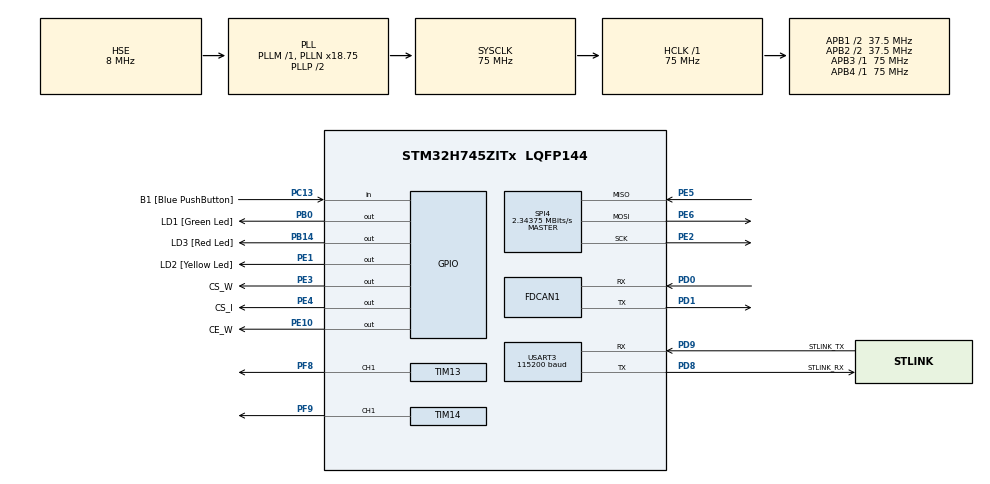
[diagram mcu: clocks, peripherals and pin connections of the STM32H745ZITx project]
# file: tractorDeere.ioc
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CortexM4.IPs=FATFS_M4\:I,FREERTOS_M4\:I,IWDG2\:I,RCC,WWDG2\:I,DMA,BDMA,MDMA,NVIC2\:I,USART3,DEBUG,PDM2PCM_M4\:I,PWR,RESMGR_UTILITY,SYS_M4\:I,USB_DEVICE_M4\:I,USB_HOST_M4\:I,CORTEX_M4\:I,GPIO,OPENAMP_M4\:I,VREFBUF,FDCAN1,TIM6\:I,SPI4
CortexM4.Pins=PE1
CortexM7.IPs=FATFS_M7\:I,FREERTOS_M7\:I,IWDG1\:I,RCC\:I,WWDG1\:I,DMA\:I,BDMA\:I,MDMA\:I,NVIC1\:I,SYS\:I,USART3\:I,CORTEX_M7\:I,DEBUG\:I,PDM2PCM_M7\:I,PWR\:I,RESMGR_UTILITY\:I,USB_DEVICE_M7\:I,USB_HOST_M7\:I,GPIO\:I,OPENAMP_M7\:I,VREFBUF\:I,FDCAN1\:I,TIM7\:I,SPI4\:I,TIM14\:I,TIM13\:I
CortexM7.Pins=PE3,PE4,PC13,PB0,PE10,PB14
FDCAN1.CalculateBaudRateNominal=625000
FDCAN1.CalculateTimeBitNominal=1600
FDCAN1.CalculateTimeQuantumNominal=320.0
FREERTOS_M4.Tasks01=defaultTask,24,128,StartDefaultTask,Default,NULL,Dynamic,NULL,NULL
FREERTOS_M4.configUSE_NEWLIB_REENTRANT=1
FREERTOS_M7.Tasks01=defaultTask,24,128,StartDefaultTask,Default,NULL,Dynamic,NULL,NULL
FREERTOS_M7.configUSE_NEWLIB_REENTRANT=1
Mcu.Family=STM32H7
Mcu.Name=STM32H745ZITx
Mcu.Package=LQFP144
NVIC1.PriorityGroup=NVIC_PRIORITYGROUP_4
NVIC1.TIM7_IRQn=true\:15\:0\:false\:false\:true\:false\:false\:true\:true
NVIC1.TimeBase=TIM7_IRQn
NVIC1.TimeBaseIP=TIM7
NVIC2.PriorityGroup=NVIC_PRIORITYGROUP_4
NVIC2.TIM6_DAC_IRQn=true\:15\:0\:false\:false\:true\:false\:false\:true\:true
NVIC2.TimeBase=TIM6_DAC_IRQn
NVIC2.TimeBaseIP=TIM6
PA15\ (JTDI).PinAttribute=CortexM7
PA15\ (JTDI).Signal=S_TIM2_CH1_ETR
PB0.GPIO_Label=LD1 [Green Led]
PB0.PinAttribute=CortexM7
PB0.Signal=GPIO_Output
PB14.GPIO_Label=LD3 [Red Led]
PB14.PinAttribute=CortexM7
PB14.Signal=GPIO_Output
PC13.GPIO_Label=B1 [Blue PushButton]
PC13.PinAttribute=CortexM7
PC13.Signal=GPIO_Input
PC14-OSC32_IN\ (OSC32_IN).Mode=LSE-External-Oscillator
PC14-OSC32_IN\ (OSC32_IN).PinAttribute=CortexM7
PC14-OSC32_IN\ (OSC32_IN).Signal=RCC_OSC32_IN
PC15-OSC32_OUT\ (OSC32_OUT).Mode=LSE-External-Oscillator
PC15-OSC32_OUT\ (OSC32_OUT).PinAttribute=CortexM7
PC15-OSC32_OUT\ (OSC32_OUT).Signal=RCC_OSC32_OUT
PD0.Mode=FDCAN_Activate
PD0.PinAttribute=CortexM7
PD0.Signal=FDCAN1_RX
PD1.Mode=FDCAN_Activate
PD1.PinAttribute=CortexM7
PD1.Signal=FDCAN1_TX
PD8.GPIO_Label=STLINK_RX
PD8.Mode=Asynchronous
PD8.PinAttribute=CortexM7
PD8.Signal=USART3_TX
PD9.GPIO_Label=STLINK_TX
PD9.Mode=Asynchronous
PD9.PinAttribute=CortexM7
PD9.Signal=USART3_RX
PE1.GPIO_Label=LD2 [Yellow Led]
PE1.PinAttribute=CortexM4
PE1.Signal=GPIO_Output
PE10.GPIO_Label=CE_W
PE10.PinAttribute=CortexM7
PE10.Signal=GPIO_Output
PE2.Mode=Full_Duplex_Master
PE2.PinAttribute=CortexM7
PE2.Signal=SPI4_SCK
PE3.GPIO_Label=CS_W
PE3.PinAttribute=CortexM7
PE3.Signal=GPIO_Output
PE4.GPIO_Label=CS_I
PE4.PinAttribute=CortexM7
PE4.Signal=GPIO_Output
PE5.Mode=Full_Duplex_Master
PE5.PinAttribute=CortexM7
PE5.Signal=SPI4_MISO
PE6.Mode=Full_Duplex_Master
PE6.PinAttribute=CortexM7
PE6.Signal=SPI4_MOSI
PF8.PinAttribute=CortexM7
PF8.Signal=S_TIM13_CH1
PF9.PinAttribute=CortexM7
PF9.Signal=S_TIM14_CH1
PH0-OSC_IN\ (PH0).Mode=HSE-External-Clock-Source
PH0-OSC_IN\ (PH0).PinAttribute=CortexM7
PH0-OSC_IN\ (PH0).Signal=RCC_OSC_IN
PH1-OSC_OUT\ (PH1).PinAttribute=CortexM7
PH1-OSC_OUT\ (PH1).Signal=RCC_OSC_OUT
ProjectManager.HeapSize=M4-0x200,M7-0x200
ProjectManager.StackSize=M4-0x400,M7-0x400
ProjectManager.TargetToolchain=STM32CubeIDE
RCC.ADCFreq_Value=16125000
RCC.APB1Freq_Value=37500000
RCC.APB2Freq_Value=37500000
RCC.APB3Freq_Value=75000000
RCC.APB4Freq_Value=75000000
RCC.CortexFreq_Value=75000000
RCC.D2PPRE1=RCC_APB1_DIV2
RCC.D2PPRE2=RCC_APB2_DIV2
RCC.DIVM1=1
RCC.DIVN1=18
RCC.DIVQ1=3
RCC.HCLKFreq_Value=75000000
RCC.HSE_VALUE=8000000
RCC.PLL1_VCI_Range=RCC_PLL1VCIRANGE_3
RCC.PLL2FRACN=0
RCC.PLL3FRACN=0
RCC.PLLFRACN=6144
RCC.PLLSourceVirtual=RCC_PLLSOURCE_HSE
RCC.SYSCLKFreq_VALUE=75000000
RCC.SYSCLKSource=RCC_SYSCLKSOURCE_PLLCLK
RCC.SupplySource=PWR_DIRECT_SMPS_SUPPLY
RCC.USBCLockSelection=RCC_USBCLKSOURCE_PLL3
RCC.USBFreq_Value=16125000
SH.S_TIM13_CH1.0=TIM13_CH1,PWM Generation1 CH1
SH.S_TIM14_CH1.0=TIM14_CH1,PWM Generation1 CH1
SH.S_TIM2_CH1_ETR.0=TIM2_CH1
SPI4.BaudRatePrescaler=SPI_BAUDRATEPRESCALER_16
SPI4.CLKPhase=SPI_PHASE_1EDGE
SPI4.CLKPolarity=SPI_POLARITY_LOW
SPI4.CalculateBaudRate=2.34375 MBits/s
SPI4.DataSize=SPI_DATASIZE_8BIT
SPI4.Direction=SPI_DIRECTION_2LINES
SPI4.Mode=SPI_MODE_MASTER
SPI4.VirtualType=VM_MASTER
TIM13.AutoReloadPreload=TIM_AUTORELOAD_PRELOAD_ENABLE
TIM13.Channel=TIM_CHANNEL_1
TIM13.Prescaler=22
TIM14.AutoReloadPreload=TIM_AUTORELOAD_PRELOAD_ENABLE
TIM14.Channel=TIM_CHANNEL_1
TIM14.Prescaler=22
USART3.BaudRate=115200
USART3.VirtualMode-Asynchronous=VM_ASYNC
USART3.WordLength=WORDLENGTH_8B
VP_FREERTOS_M4_VS_CMSIS_V2.Mode=CMSIS_V2
VP_FREERTOS_M7_VS_CMSIS_V2.Mode=CMSIS_V2
VP_SYS_M4_VS_tim6.Mode=TIM6
VP_SYS_VS_tim7.Mode=TIM7
VP_TIM13_VS_ClockSourceINT.Mode=Enable_Timer
VP_TIM14_VS_ClockSourceINT.Mode=Enable_Timer
board=NUCLEO-H745ZI-Q

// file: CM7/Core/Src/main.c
/* USER CODE BEGIN Header */
/**
  ******************************************************************************
  * @file           : main.c
  * @brief          : Main program body
  ******************************************************************************
  * @attention
  *
  * Copyright (c) 2023 STMicroelectronics.
  * All rights reserved.
  *
  * This software is licensed under terms that can be found in the LICENSE file
  * in the root directory of this software component.
  * If no LICENSE file comes with this software, it is provided AS-IS.
  *
  ******************************************************************************
  */
/* USER CODE END Header */
#include "main.h"
#include "cmsis_os.h"

/* USER CODE BEGIN Includes */
#include "myprintf.h"
#include "MY_NRF24.h"
/* USER CODE END Includes */

/* USER CODE BEGIN PD */

#ifndef HSEM_ID_0
#define HSEM_ID_0 (0U) /* HW semaphore 0*/
#endif
/* USER CODE END PD */

FDCAN_HandleTypeDef hfdcan1;

SPI_HandleTypeDef hspi4;

TIM_HandleTypeDef htim13;
TIM_HandleTypeDef htim14;

UART_HandleTypeDef huart3;

/* Definitions for defaultTask */
osThreadId_t defaultTaskHandle;
const osThreadAttr_t defaultTask_attributes = {
  .name = "defaultTask",
  .stack_size = 128 * 4,
  .priority = (osPriority_t) osPriorityNormal,
};
/* USER CODE BEGIN PV */
uint64_t RxpipeAddrs = 0x11223344AA;
uint8_t myRxData[100];
/* USER CODE END PV */

void SystemClock_Config(void);
static void MX_GPIO_Init(void);
static void MX_FDCAN1_Init(void);
static void MX_USART3_UART_Init(void);
static void MX_SPI4_Init(void);
static void MX_TIM13_Init(void);
static void MX_TIM14_Init(void);
void StartDefaultTask(void *argument);

/* USER CODE BEGIN PFP */
void mpu9250_read_reg(uint8_t reg, uint8_t *data, uint8_t len);
void mpu9250_write_reg(uint8_t reg, uint8_t data);
/* USER CODE END PFP */

int main(void)
{
/* USER CODE BEGIN Boot_Mode_Sequence_0 */
  int32_t timeout;
/* USER CODE END Boot_Mode_Sequence_0 */

/* USER CODE BEGIN Boot_Mode_Sequence_1 */
  /* Wait until CPU2 boots and enters in stop mode or timeout*/
  timeout = 0xFFFF;
  while((__HAL_RCC_GET_FLAG(RCC_FLAG_D2CKRDY) != RESET) && (timeout-- > 0));
  if ( timeout < 0 )
  {
  Error_Handler();
  }
/* USER CODE END Boot_Mode_Sequence_1 */
  /* MCU Configuration--------------------------------------------------------*/

  /* Reset of all peripherals, Initializes the Flash interface and the Systick. */
  HAL_Init();

  /* Configure the system clock */
  SystemClock_Config();
/* USER CODE BEGIN Boot_Mode_Sequence_2 */
/* When system initialization is finished, Cortex-M7 will release Cortex-M4 by means of
HSEM notification */
/*HW semaphore Clock enable*/
__HAL_RCC_HSEM_CLK_ENABLE();
/*Take HSEM */
HAL_HSEM_FastTake(HSEM_ID_0);
/*Release HSEM in order to notify the CPU2(CM4)*/
HAL_HSEM_Release(HSEM_ID_0,0);
/* wait until CPU2 wakes up from stop mode */
timeout = 0xFFFF;
while((__HAL_RCC_GET_FLAG(RCC_FLAG_D2CKRDY) == RESET) && (timeout-- > 0));
if ( timeout < 0 )
{
Error_Handler();
}
/* USER CODE END Boot_Mode_Sequence_2 */

  /* Initialize all configured peripherals */
  MX_GPIO_Init();
  MX_FDCAN1_Init();
  MX_USART3_UART_Init();
  MX_SPI4_Init();
  MX_TIM13_Init();
  MX_TIM14_Init();
  /* USER CODE BEGIN 2 */
  HAL_TIM_PWM_Start(&htim14,TIM_CHANNEL_1);
  HAL_TIM_PWM_Start(&htim13,TIM_CHANNEL_1);
  //*
	// NRF24 inicialization
	NRF24_begin(GPIOE, GPIO_PIN_3, GPIO_PIN_10, hspi4);
	osDelay(10);
	nrf24_DebugUART_Init(huart3);

	// NRF24 setup to read
	NRF24_setAutoAck(false);
	osDelay(10);
	NRF24_setChannel(52);
	osDelay(10);
	NRF24_setPayloadSize(32);
	osDelay(10);
	NRF24_setDataRate(RF24_2MBPS);
	osDelay(10);
	NRF24_openReadingPipe(0, RxpipeAddrs);
	osDelay(10);
	NRF24_enableDynamicPayloads();
	osDelay(10);
	printRadioSettings();
	osDelay(10);
	NRF24_startListening();
	osDelay(10);

  //

  /* USER CODE END 2 */

  /* Init scheduler */
  osKernelInitialize();

  /* Create the thread(s) */
  /* creation of defaultTask */
  defaultTaskHandle = osThreadNew(StartDefaultTask, NULL, &defaultTask_attributes);

  /* Start scheduler */
  osKernelStart();

  /* We should never get here as control is now taken by the scheduler */
  /* Infinite loop */
  while (1)
  {

  }
}

void SystemClock_Config(void)
{
  RCC_OscInitTypeDef RCC_OscInitStruct = {0};
  RCC_ClkInitTypeDef RCC_ClkInitStruct = {0};

  /** Supply configuration update enable
  */
  HAL_PWREx_ConfigSupply(PWR_DIRECT_SMPS_SUPPLY);

  /** Configure the main internal regulator output voltage
  */
  __HAL_PWR_VOLTAGESCALING_CONFIG(PWR_REGULATOR_VOLTAGE_SCALE3);

  while(!__HAL_PWR_GET_FLAG(PWR_FLAG_VOSRDY)) {}

  /** Initializes the RCC Oscillators according to the specified parameters
  * in the RCC_OscInitTypeDef structure.
  */
  RCC_OscInitStruct.OscillatorType = RCC_OSCILLATORTYPE_HSE;
  RCC_OscInitStruct.HSEState = RCC_HSE_BYPASS;
  RCC_OscInitStruct.PLL.PLLState = RCC_PLL_ON;
  RCC_OscInitStruct.PLL.PLLSource = RCC_PLLSOURCE_HSE;
  RCC_OscInitStruct.PLL.PLLM = 1;
  RCC_OscInitStruct.PLL.PLLN = 18;
  RCC_OscInitStruct.PLL.PLLP = 2;
  RCC_OscInitStruct.PLL.PLLQ = 3;
  RCC_OscInitStruct.PLL.PLLR = 2;
  RCC_OscInitStruct.PLL.PLLRGE = RCC_PLL1VCIRANGE_3;
  RCC_OscInitStruct.PLL.PLLVCOSEL = RCC_PLL1VCOMEDIUM;
  RCC_OscInitStruct.PLL.PLLFRACN = 6144;
  if (HAL_RCC_OscConfig(&RCC_OscInitStruct) != HAL_OK)
  {
    Error_Handler();
  }

  /** Initializes the CPU, AHB and APB buses clocks
  */
  RCC_ClkInitStruct.ClockType = RCC_CLOCKTYPE_HCLK|RCC_CLOCKTYPE_SYSCLK
                              |RCC_CLOCKTYPE_PCLK1|RCC_CLOCKTYPE_PCLK2
                              |RCC_CLOCKTYPE_D3PCLK1|RCC_CLOCKTYPE_D1PCLK1;
  RCC_ClkInitStruct.SYSCLKSource = RCC_SYSCLKSOURCE_PLLCLK;
  RCC_ClkInitStruct.SYSCLKDivider = RCC_SYSCLK_DIV1;
  RCC_ClkInitStruct.AHBCLKDivider = RCC_HCLK_DIV1;
  RCC_ClkInitStruct.APB3CLKDivider = RCC_APB3_DIV1;
  RCC_ClkInitStruct.APB1CLKDivider = RCC_APB1_DIV2;
  RCC_ClkInitStruct.APB2CLKDivider = RCC_APB2_DIV2;
  RCC_ClkInitStruct.APB4CLKDivider = RCC_APB4_DIV1;

  if (HAL_RCC_ClockConfig(&RCC_ClkInitStruct, FLASH_LATENCY_1) != HAL_OK)
  {
    Error_Handler();
  }
}

static void MX_FDCAN1_Init(void)
{

  hfdcan1.Instance = FDCAN1;
  hfdcan1.Init.FrameFormat = FDCAN_FRAME_CLASSIC;
  hfdcan1.Init.Mode = FDCAN_MODE_NORMAL;
  hfdcan1.Init.AutoRetransmission = DISABLE;
  hfdcan1.Init.TransmitPause = DISABLE;
  hfdcan1.Init.ProtocolException = DISABLE;
  hfdcan1.Init.NominalPrescaler = 16;
  hfdcan1.Init.NominalSyncJumpWidth = 1;
  hfdcan1.Init.NominalTimeSeg1 = 2;
  hfdcan1.Init.NominalTimeSeg2 = 2;
  hfdcan1.Init.DataPrescaler = 1;
  hfdcan1.Init.DataSyncJumpWidth = 1;
  hfdcan1.Init.DataTimeSeg1 = 1;
  hfdcan1.Init.DataTimeSeg2 = 1;
  hfdcan1.Init.MessageRAMOffset = 0;
  hfdcan1.Init.StdFiltersNbr = 0;
  hfdcan1.Init.ExtFiltersNbr = 0;
  hfdcan1.Init.RxFifo0ElmtsNbr = 0;
  hfdcan1.Init.RxFifo0ElmtSize = FDCAN_DATA_BYTES_8;
  hfdcan1.Init.RxFifo1ElmtsNbr = 0;
  hfdcan1.Init.RxFifo1ElmtSize = FDCAN_DATA_BYTES_8;
  hfdcan1.Init.RxBuffersNbr = 0;
  hfdcan1.Init.RxBufferSize = FDCAN_DATA_BYTES_8;
  hfdcan1.Init.TxEventsNbr = 0;
  hfdcan1.Init.TxBuffersNbr = 0;
  hfdcan1.Init.TxFifoQueueElmtsNbr = 0;
  hfdcan1.Init.TxFifoQueueMode = FDCAN_TX_FIFO_OPERATION;
  hfdcan1.Init.TxElmtSize = FDCAN_DATA_BYTES_8;
  if (HAL_FDCAN_Init(&hfdcan1) != HAL_OK)
  {
    Error_Handler();
  }

}

static void MX_SPI4_Init(void)
{

  /* SPI4 parameter configuration*/
  hspi4.Instance = SPI4;
  hspi4.Init.Mode = SPI_MODE_MASTER;
  hspi4.Init.Direction = SPI_DIRECTION_2LINES;
  hspi4.Init.DataSize = SPI_DATASIZE_8BIT;
  hspi4.Init.CLKPolarity = SPI_POLARITY_LOW;
  hspi4.Init.CLKPhase = SPI_PHASE_1EDGE;
  hspi4.Init.NSS = SPI_NSS_SOFT;
  hspi4.Init.BaudRatePrescaler = SPI_BAUDRATEPRESCALER_16;
  hspi4.Init.FirstBit = SPI_FIRSTBIT_MSB;
  hspi4.Init.TIMode = SPI_TIMODE_DISABLE;
  hspi4.Init.CRCCalculation = SPI_CRCCALCULATION_DISABLE;
  hspi4.Init.CRCPolynomial = 0x0;
  hspi4.Init.NSSPMode = SPI_NSS_PULSE_ENABLE;
  hspi4.Init.NSSPolarity = SPI_NSS_POLARITY_LOW;
  hspi4.Init.FifoThreshold = SPI_FIFO_THRESHOLD_01DATA;
  hspi4.Init.TxCRCInitializationPattern = SPI_CRC_INITIALIZATION_ALL_ZERO_PATTERN;
  hspi4.Init.RxCRCInitializationPattern = SPI_CRC_INITIALIZATION_ALL_ZERO_PATTERN;
  hspi4.Init.MasterSSIdleness = SPI_MASTER_SS_IDLENESS_00CYCLE;
  hspi4.Init.MasterInterDataIdleness = SPI_MASTER_INTERDATA_IDLENESS_00CYCLE;
  hspi4.Init.MasterReceiverAutoSusp = SPI_MASTER_RX_AUTOSUSP_DISABLE;
  hspi4.Init.MasterKeepIOState = SPI_MASTER_KEEP_IO_STATE_DISABLE;
  hspi4.Init.IOSwap = SPI_IO_SWAP_DISABLE;
  if (HAL_SPI_Init(&hspi4) != HAL_OK)
  {
    Error_Handler();
  }

}

static void MX_TIM13_Init(void)
{

  TIM_OC_InitTypeDef sConfigOC = {0};

  htim13.Instance = TIM13;
  htim13.Init.Prescaler = 22;
  htim13.Init.CounterMode = TIM_COUNTERMODE_UP;
  htim13.Init.Period = 65535;
  htim13.Init.ClockDivision = TIM_CLOCKDIVISION_DIV1;
  htim13.Init.AutoReloadPreload = TIM_AUTORELOAD_PRELOAD_ENABLE;
  if (HAL_TIM_Base_Init(&htim13) != HAL_OK)
  {
    Error_Handler();
  }
  if (HAL_TIM_PWM_Init(&htim13) != HAL_OK)
  {
    Error_Handler();
  }
  sConfigOC.OCMode = TIM_OCMODE_PWM1;
  sConfigOC.Pulse = 0;
  sConfigOC.OCPolarity = TIM_OCPOLARITY_HIGH;
  sConfigOC.OCFastMode = TIM_OCFAST_DISABLE;
  if (HAL_TIM_PWM_ConfigChannel(&htim13, &sConfigOC, TIM_CHANNEL_1) != HAL_OK)
  {
    Error_Handler();
  }
  HAL_TIM_MspPostInit(&htim13);

}

static void MX_TIM14_Init(void)
{

  TIM_OC_InitTypeDef sConfigOC = {0};

  htim14.Instance = TIM14;
  htim14.Init.Prescaler = 22;
  htim14.Init.CounterMode = TIM_COUNTERMODE_UP;
  htim14.Init.Period = 65535;
  htim14.Init.ClockDivision = TIM_CLOCKDIVISION_DIV1;
  htim14.Init.AutoReloadPreload = TIM_AUTORELOAD_PRELOAD_ENABLE;
  if (HAL_TIM_Base_Init(&htim14) != HAL_OK)
  {
    Error_Handler();
  }
  if (HAL_TIM_PWM_Init(&htim14) != HAL_OK)
  {
    Error_Handler();
  }
  sConfigOC.OCMode = TIM_OCMODE_PWM1;
  sConfigOC.Pulse = 0;
  sConfigOC.OCPolarity = TIM_OCPOLARITY_HIGH;
  sConfigOC.OCFastMode = TIM_OCFAST_DISABLE;
  if (HAL_TIM_PWM_ConfigChannel(&htim14, &sConfigOC, TIM_CHANNEL_1) != HAL_OK)
  {
    Error_Handler();
  }
  HAL_TIM_MspPostInit(&htim14);

}

static void MX_USART3_UART_Init(void)
{

  huart3.Instance = USART3;
  huart3.Init.BaudRate = 115200;
  huart3.Init.WordLength = UART_WORDLENGTH_8B;
  huart3.Init.StopBits = UART_STOPBITS_1;
  huart3.Init.Parity = UART_PARITY_NONE;
  huart3.Init.Mode = UART_MODE_TX_RX;
  huart3.Init.HwFlowCtl = UART_HWCONTROL_NONE;
  huart3.Init.OverSampling = UART_OVERSAMPLING_16;
  huart3.Init.OneBitSampling = UART_ONE_BIT_SAMPLE_DISABLE;
  huart3.Init.ClockPrescaler = UART_PRESCALER_DIV1;
  huart3.AdvancedInit.AdvFeatureInit = UART_ADVFEATURE_NO_INIT;
  if (HAL_UART_Init(&huart3) != HAL_OK)
  {
    Error_Handler();
  }
  if (HAL_UARTEx_SetTxFifoThreshold(&huart3, UART_TXFIFO_THRESHOLD_1_8) != HAL_OK)
  {
    Error_Handler();
  }
  if (HAL_UARTEx_SetRxFifoThreshold(&huart3, UART_RXFIFO_THRESHOLD_1_8) != HAL_OK)
  {
    Error_Handler();
  }
  if (HAL_UARTEx_DisableFifoMode(&huart3) != HAL_OK)
  {
    Error_Handler();
  }

}

static void MX_GPIO_Init(void)
{
  GPIO_InitTypeDef GPIO_InitStruct = {0};

  /* GPIO Ports Clock Enable */
  __HAL_RCC_GPIOE_CLK_ENABLE();
  __HAL_RCC_GPIOC_CLK_ENABLE();
  __HAL_RCC_GPIOF_CLK_ENABLE();
  __HAL_RCC_GPIOH_CLK_ENABLE();
  __HAL_RCC_GPIOB_CLK_ENABLE();
  __HAL_RCC_GPIOD_CLK_ENABLE();

  /*Configure GPIO pin Output Level */
  HAL_GPIO_WritePin(GPIOE, CS_W_Pin|CS_I_Pin|CE_W_Pin, GPIO_PIN_RESET);

  /*Configure GPIO pin Output Level */
  HAL_GPIO_WritePin(GPIOB, LD1_Pin|LD3_Pin, GPIO_PIN_RESET);

  /*Configure GPIO pins : CS_W_Pin CS_I_Pin CE_W_Pin */
  GPIO_InitStruct.Pin = CS_W_Pin|CS_I_Pin|CE_W_Pin;
  GPIO_InitStruct.Mode = GPIO_MODE_OUTPUT_PP;
  GPIO_InitStruct.Pull = GPIO_NOPULL;
  GPIO_InitStruct.Speed = GPIO_SPEED_FREQ_LOW;
  HAL_GPIO_Init(GPIOE, &GPIO_InitStruct);

  /*Configure GPIO pin : B1_Pin */
  GPIO_InitStruct.Pin = B1_Pin;
  GPIO_InitStruct.Mode = GPIO_MODE_INPUT;
  GPIO_InitStruct.Pull = GPIO_NOPULL;
  HAL_GPIO_Init(B1_GPIO_Port, &GPIO_InitStruct);

  /*Configure GPIO pins : LD1_Pin LD3_Pin */
  GPIO_InitStruct.Pin = LD1_Pin|LD3_Pin;
  GPIO_InitStruct.Mode = GPIO_MODE_OUTPUT_PP;
  GPIO_InitStruct.Pull = GPIO_NOPULL;
  GPIO_InitStruct.Speed = GPIO_SPEED_FREQ_LOW;
  HAL_GPIO_Init(GPIOB, &GPIO_InitStruct);

}

/* USER CODE BEGIN 4 */
/*
void mpu9250_write_reg(uint8_t reg, uint8_t data)
{
	HAL_GPIO_WritePin(CS1_GPIO_Port, CS1_Pin, GPIO_PIN_RESET);
	HAL_SPI_Transmit(&hspi4, &reg, 1, 100);
	HAL_SPI_Transmit(&hspi4, &data, 1, 100);
	HAL_GPIO_WritePin(CS1_GPIO_Port, CS1_Pin, GPIO_PIN_SET);
}
void mpu9250_read_reg(uint8_t reg, uint8_t *data, uint8_t len)
{
	uint8_t temp_data = 0x80|reg;
	HAL_GPIO_WritePin(CS1_GPIO_Port, CS1_Pin, GPIO_PIN_RESET);
	HAL_SPI_Transmit(&hspi4, &temp_data , 1, 100);
	HAL_SPI_Receive(&hspi4, data, len, 100);
	HAL_GPIO_WritePin(CS1_GPIO_Port, CS1_Pin, GPIO_PIN_SET);
}

float get_acc_resolution(const ACCEL_FS_SEL accel_af_sel) const {
	switch (accel_af_sel) {
		// Possible accelerometer scales (and their register bit settings) are:
		// 2 Gs (00), 4 Gs (01), 8 Gs (10), and 16 Gs  (11).
		// Here's a bit of an algorith to calculate DPS/(ADC tick) based on that 2-bit value:
		case ACCEL_FS_SEL::A2G:
			return 2.0 / 32768.0;
		case ACCEL_FS_SEL::A4G:
			return 4.0 / 32768.0;
		case ACCEL_FS_SEL::A8G:
			return 8.0 / 32768.0;
		case ACCEL_FS_SEL::A16G:
			return 16.0 / 32768.0;
		default:
			return 0.;
	}
}

float get_gyro_resolution(const GYRO_FS_SEL gyro_fs_sel) const {
	switch (gyro_fs_sel) {
		// Possible gyro scales (and their register bit settings) are:
		// 250 DPS (00), 500 DPS (01), 1000 DPS (10), and 2000 DPS  (11).
		// Here's a bit of an algorith to calculate DPS/(ADC tick) based on that 2-bit value:
		case GYRO_FS_SEL::G250DPS:
			return 250.0 / 32768.0;
		case GYRO_FS_SEL::G500DPS:
			return 500.0 / 32768.0;
		case GYRO_FS_SEL::G1000DPS:
			return 1000.0 / 32768.0;
		case GYRO_FS_SEL::G2000DPS:
			return 2000.0 / 32768.0;
		default:
			return 0.;
	}
}

float get_mag_resolution(const MAG_OUTPUT_BITS mag_output_bits) const {
	switch (mag_output_bits) {
		// Possible magnetometer scales (and their register bit settings) are:
		// 14 bit resolution (0) and 16 bit resolution (1)
		// Proper scale to return milliGauss
		case MAG_OUTPUT_BITS::M14BITS:
			return 10. * 4912. / 8190.0;
		case MAG_OUTPUT_BITS::M16BITS:
			return 10. * 4912. / 32760.0;
		default:
			return 0.;
	}
}
*/

/* USER CODE END 4 */

void StartDefaultTask(void *argument)
{
  /* USER CODE BEGIN 5 */
  /*
  // IMU

  // Datos de acelerómetro
  int16_t accelX_raw;
  int8_t accelX_data;
  int16_t accelY_raw;
  int8_t accelY_data;
  int16_t accelZ_raw;
  int8_t accelZ_data;
  // Datos de giroscopio
  int16_t gyroX_raw;
  int16_t gyroX_data;
  int16_t gyroY_raw;
  int16_t gyroY_data;
  int16_t gyroZ_raw;
  int16_t gyroZ_data;
  // Datos de magnetometro
  int16_t magnX_raw;
  int16_t magnX_data;
  int16_t magnY_raw;
  int16_t magnY_data;
  int16_t magnZ_raw;
  int16_t magnZ_data;
  // Datos imu y magnetometro
  uint8_t imu_data[14];
  uint8_t magn_data[6];
  // Configuracion imu y magnetometro
  mpu9250_write_reg(27, 0b00001100); // 16 Resolution
  mpu9250_write_reg(28, 0b00001100); // 2000 Resolution
  //mpu9250_write_reg(??, 0b00000100); // 10. * 4912. / 32760.0 Resolution

  printf("Hello World\n\r");
  */

  /* Infinite loop */
  for(;;)
  {
	/*
	// IMU

    // Obtención de datos imu
	mpu9250_read_reg(59, imu_data, sizeof(imu_data));
	// Obtención de datos magnometro
	mpu9250_read_reg(03, magn_data, sizeof(magn_data));
	// Obtención de lectura acelerómetro
	accelX_raw = ((int16_t)imu_data[0]<<8) + imu_data[1];
	accelY_raw = ((int16_t)imu_data[2]<<8) + imu_data[3];
	accelZ_raw = ((int16_t)imu_data[4]<<8) + imu_data[5];
	accelX_data = accelX_raw * (16.0 / 32768.0);
	accelY_data = accelY_raw * (16.0 / 32768.0);
	accelZ_data = accelZ_raw * (16.0 / 32768.0);
	// Obtención de lectura giroscopio
	gyroX_raw = ((int16_t)imu_data[8]<<8) + imu_data[9];
	gyroY_raw = ((int16_t)imu_data[10]<<8) + imu_data[11];
	gyroZ_raw = ((int16_t)imu_data[12]<<8) + imu_data[13];
	gyroX_data = gyroX_raw * (2000.0 / 32768.0) ;
	gyroY_data = gyroY_raw * (2000.0 / 32768.0) ;
	gyroZ_data = gyroZ_raw * (2000.0 / 32768.0) ;
	// Obtención de lectura giroscopio
	//magnX_raw = ((int16_t)imu_data[0]<<8) + imu_data[1];
	//magnY_raw = ((int16_t)imu_data[2]<<8) + imu_data[3];
	//magnZ_raw = ((int16_t)imu_data[4]<<8) + imu_data[5];
	//magnX_data = magnX_raw * (10. * 4912. / 32760.0);
	//magnY_data = magnY_raw * (10. * 4912. / 32760.0);
	//magnZ_data = magnZ_raw * (10. * 4912. / 32760.0);

	//printf("Accelerator data: X %d / Y %d / Z %d\n\r",accelX_data,accelY_data,accelZ_data);
	printf("Gyroscope data: X %d / Y %d / Z %d\n\r",gyroX_data,gyroY_data,gyroZ_data);
    //osDelay(1000);
    //printf("After\n\r");
    */
		// NRF24

	  	printf("hola \r\n");
	  	 osDelay(1000);

	    if(NRF24_available()){
		  NRF24_read(myRxData, 32);
		  printf("Coordinates: %d %d %d %d %d %d %d \r\n", myRxData[0],myRxData[1],myRxData[2],myRxData[3],myRxData[4],myRxData[5],myRxData[6]);
		  //HAL_UART_Transmit(&huart3, (uint8_t *)myRxData, 32, 10);
	  	}

	  /*ESC
	  	  double pulseWidthServo= 0.0015;
	  	  double pulseWidth= 0.0015;
	  	  double ccr = 0;
	  	  double ccrservo=0;

	  	  ccrservo=(pulseWidthServo * htim13.Init.Period )/0.02;
	  	  htim13.Instance -> CCR1=ccrservo;
	  	  osDelay(2000);

	  	  pulseWidthServo= 0.0011;
	  	  ccrservo=(pulseWidthServo * htim13.Init.Period )/0.02;
	  	  htim13.Instance -> CCR1=ccrservo;

	  	  ccr = (pulseWidth * htim14.Init.Period )/0.02;
	  	  htim14.Instance -> CCR1 = ccr;
	  	  printf("Hello tupu \r\n");
	  	  osDelay(2000);
	  	  printf("hi World \r\n");
//	  	  HAL_Delay(2000);

	  	  double i=0.00001;
	  	  while(pulseWidth<0.002){
	  		  ccr=(pulseWidth*htim14.Init.Period)/0.02;
	  		  htim14.Instance -> CCR1=ccr;
	 // 		  HAL_Delay(50);
	  		  printf("antes os  \r\n");
	  		  	  osDelay(50);
	  		   printf("despues os \r\n");
	  		  pulseWidth += i;
	  	  }
	  	  ccr = (pulseWidth * htim14.Init.Period)/0.02;
	  	  htim14.Instance-> CCR1 = ccr;
	  	//  HAL_Delay(2000);
	  	  osDelay(2000);
	  	printf("Hello World \r\n");

	  printf("Hello World \r\n");
	  osDelay(1000);
	  printf("Goodbye World \r\n");
	  osDelay(2000);
	  */

  }
  /* USER CODE END 5 */
}

void HAL_TIM_PeriodElapsedCallback(TIM_HandleTypeDef *htim)
{
  if (htim->Instance == TIM7) {
    HAL_IncTick();
  }
}

void Error_Handler(void)
{
  __disable_irq();
  while (1)
  {
  }
}
